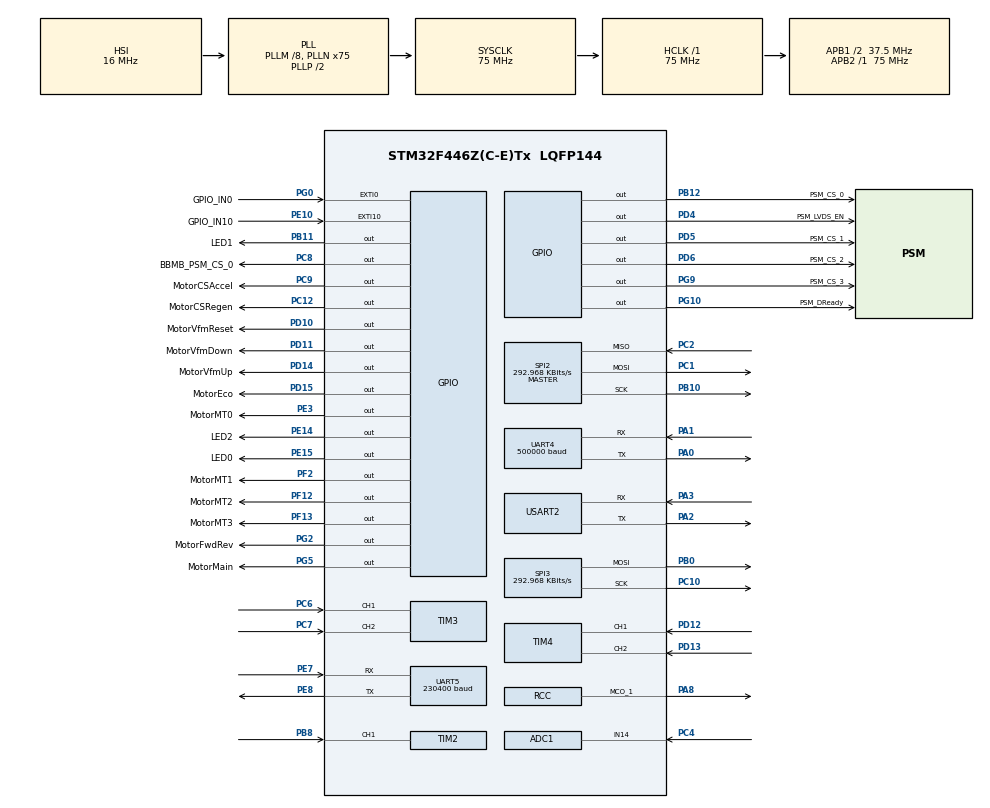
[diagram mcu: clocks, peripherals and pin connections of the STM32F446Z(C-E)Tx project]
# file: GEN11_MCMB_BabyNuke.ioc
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ADC1.Channel-7\#ChannelRegularConversion=ADC_CHANNEL_14
ADC1.NbrOfConversionFlag=1
ADC1.Rank-7\#ChannelRegularConversion=1
ADC1.SamplingTime-7\#ChannelRegularConversion=ADC_SAMPLETIME_3CYCLES
ADC1.master=1
Dma.Request0=UART4_TX
Dma.Request1=UART4_RX
Dma.Request2=USART2_RX
Dma.Request3=USART2_TX
Dma.Request4=UART5_RX
Dma.Request5=UART5_TX
Dma.UART4_RX.1.Direction=DMA_PERIPH_TO_MEMORY
Dma.UART4_RX.1.FIFOMode=DMA_FIFOMODE_DISABLE
Dma.UART4_RX.1.Instance=DMA1_Stream2
Dma.UART4_RX.1.MemDataAlignment=DMA_MDATAALIGN_BYTE
Dma.UART4_RX.1.MemInc=DMA_MINC_ENABLE
Dma.UART4_RX.1.Mode=DMA_CIRCULAR
Dma.UART4_RX.1.PeriphDataAlignment=DMA_PDATAALIGN_BYTE
Dma.UART4_RX.1.PeriphInc=DMA_PINC_DISABLE
Dma.UART4_RX.1.Priority=DMA_PRIORITY_HIGH
Dma.UART4_TX.0.Direction=DMA_MEMORY_TO_PERIPH
Dma.UART4_TX.0.FIFOMode=DMA_FIFOMODE_DISABLE
Dma.UART4_TX.0.Instance=DMA1_Stream4
Dma.UART4_TX.0.MemDataAlignment=DMA_MDATAALIGN_BYTE
Dma.UART4_TX.0.MemInc=DMA_MINC_ENABLE
Dma.UART4_TX.0.Mode=DMA_NORMAL
Dma.UART4_TX.0.PeriphDataAlignment=DMA_PDATAALIGN_BYTE
Dma.UART4_TX.0.PeriphInc=DMA_PINC_DISABLE
Dma.UART4_TX.0.Priority=DMA_PRIORITY_HIGH
Dma.UART5_RX.4.Direction=DMA_PERIPH_TO_MEMORY
Dma.UART5_RX.4.FIFOMode=DMA_FIFOMODE_DISABLE
Dma.UART5_RX.4.Instance=DMA1_Stream0
Dma.UART5_RX.4.MemDataAlignment=DMA_MDATAALIGN_BYTE
Dma.UART5_RX.4.MemInc=DMA_MINC_ENABLE
Dma.UART5_RX.4.Mode=DMA_NORMAL
Dma.UART5_RX.4.PeriphDataAlignment=DMA_PDATAALIGN_BYTE
Dma.UART5_RX.4.PeriphInc=DMA_PINC_DISABLE
Dma.UART5_RX.4.Priority=DMA_PRIORITY_MEDIUM
Dma.UART5_TX.5.Direction=DMA_MEMORY_TO_PERIPH
Dma.UART5_TX.5.FIFOMode=DMA_FIFOMODE_DISABLE
Dma.UART5_TX.5.Instance=DMA1_Stream7
Dma.UART5_TX.5.MemDataAlignment=DMA_MDATAALIGN_BYTE
Dma.UART5_TX.5.MemInc=DMA_MINC_ENABLE
Dma.UART5_TX.5.Mode=DMA_NORMAL
Dma.UART5_TX.5.PeriphDataAlignment=DMA_PDATAALIGN_BYTE
Dma.UART5_TX.5.PeriphInc=DMA_PINC_DISABLE
Dma.UART5_TX.5.Priority=DMA_PRIORITY_MEDIUM
Dma.USART2_RX.2.Direction=DMA_PERIPH_TO_MEMORY
Dma.USART2_RX.2.FIFOMode=DMA_FIFOMODE_DISABLE
Dma.USART2_RX.2.Instance=DMA1_Stream5
Dma.USART2_RX.2.MemDataAlignment=DMA_MDATAALIGN_BYTE
Dma.USART2_RX.2.MemInc=DMA_MINC_ENABLE
Dma.USART2_RX.2.Mode=DMA_CIRCULAR
Dma.USART2_RX.2.PeriphDataAlignment=DMA_PDATAALIGN_BYTE
Dma.USART2_RX.2.PeriphInc=DMA_PINC_DISABLE
Dma.USART2_RX.2.Priority=DMA_PRIORITY_HIGH
Dma.USART2_TX.3.Direction=DMA_MEMORY_TO_PERIPH
Dma.USART2_TX.3.FIFOMode=DMA_FIFOMODE_DISABLE
Dma.USART2_TX.3.Instance=DMA1_Stream6
Dma.USART2_TX.3.MemDataAlignment=DMA_MDATAALIGN_BYTE
Dma.USART2_TX.3.MemInc=DMA_MINC_ENABLE
Dma.USART2_TX.3.Mode=DMA_NORMAL
Dma.USART2_TX.3.PeriphDataAlignment=DMA_PDATAALIGN_BYTE
Dma.USART2_TX.3.PeriphInc=DMA_PINC_DISABLE
Dma.USART2_TX.3.Priority=DMA_PRIORITY_HIGH
FREERTOS.HEAP_NUMBER=4
FREERTOS.MEMORY_ALLOCATION=0
FREERTOS.Tasks01=defaultTask,0,256,StartDefaultTask,Default,NULL,Dynamic,NULL,NULL
FREERTOS.configENABLE_BACKWARD_COMPATIBILITY=0
FREERTOS.configMINIMAL_STACK_SIZE=256
FREERTOS.configTIMER_QUEUE_LENGTH=16
FREERTOS.configTIMER_TASK_PRIORITY=5
FREERTOS.configTOTAL_HEAP_SIZE=120000
FREERTOS.configUSE_NEWLIB_REENTRANT=1
FREERTOS.configUSE_TIMERS=1
Mcu.Family=STM32F4
Mcu.Name=STM32F446Z(C-E)Tx
Mcu.Package=LQFP144
NVIC.DMA1_Stream0_IRQn=true\:5\:0\:false\:false\:true\:true\:false\:true\:true
NVIC.DMA1_Stream2_IRQn=true\:5\:0\:false\:false\:true\:true\:false\:true\:true
NVIC.DMA1_Stream4_IRQn=true\:5\:0\:false\:false\:true\:true\:false\:true\:true
NVIC.DMA1_Stream5_IRQn=true\:5\:0\:false\:false\:true\:true\:false\:true\:true
NVIC.DMA1_Stream6_IRQn=true\:5\:0\:false\:false\:true\:true\:false\:true\:true
NVIC.DMA1_Stream7_IRQn=true\:5\:0\:false\:false\:true\:true\:false\:true\:true
NVIC.EXTI0_IRQn=true\:5\:0\:false\:false\:true\:true\:true\:true\:true
NVIC.EXTI15_10_IRQn=true\:5\:0\:false\:false\:true\:true\:true\:true\:true
NVIC.PriorityGroup=NVIC_PRIORITYGROUP_4
NVIC.SPI3_IRQn=true\:5\:0\:false\:false\:true\:true\:true\:true\:true
NVIC.TIM2_IRQn=true\:5\:0\:false\:false\:true\:true\:true\:true\:true
NVIC.TIM4_IRQn=true\:5\:0\:false\:false\:true\:true\:true\:true\:true
NVIC.TIM6_DAC_IRQn=true\:15\:0\:false\:false\:true\:false\:false\:true\:true
NVIC.TIM7_IRQn=true\:5\:0\:false\:false\:true\:true\:true\:true\:true
NVIC.TimeBase=TIM6_DAC_IRQn
NVIC.TimeBaseIP=TIM6
NVIC.UART4_IRQn=true\:5\:0\:false\:false\:true\:true\:true\:true\:true
NVIC.UART5_IRQn=true\:5\:0\:false\:false\:true\:true\:true\:true\:true
NVIC.USART2_IRQn=true\:5\:0\:false\:false\:true\:true\:true\:true\:true
PA0-WKUP.Mode=Asynchronous
PA0-WKUP.Signal=UART4_TX
PA1.Mode=Asynchronous
PA1.Signal=UART4_RX
PA2.Mode=Asynchronous
PA2.Signal=USART2_TX
PA3.Mode=Asynchronous
PA3.Signal=USART2_RX
PA8.Mode=Clock-out-1
PA8.Signal=RCC_MCO_1
PB0.Mode=TX_Only_Simplex_Unidirect_Master
PB0.Signal=SPI3_MOSI
PB10.Mode=Full_Duplex_Master
PB10.Signal=SPI2_SCK
PB11.GPIO_Label=LED1
PB11.Signal=GPIO_Output
PB12.GPIO_Label=PSM_CS_0
PB12.Signal=GPIO_Output
PB8.Signal=S_TIM2_CH1_ETR
PC1.Mode=Full_Duplex_Master
PC1.Signal=SPI2_MOSI
PC10.Mode=TX_Only_Simplex_Unidirect_Master
PC10.Signal=SPI3_SCK
PC12.GPIO_Label=MotorCSRegen
PC12.Signal=GPIO_Output
PC2.Mode=Full_Duplex_Master
PC2.Signal=SPI2_MISO
PC4.Signal=ADCx_IN14
PC6.Signal=S_TIM3_CH1
PC7.Signal=S_TIM3_CH2
PC8.GPIO_Label=BBMB_PSM_CS_0
PC8.Signal=GPIO_Output
PC9.GPIO_Label=MotorCSAccel
PC9.Signal=GPIO_Output
PD10.GPIO_Label=MotorVfmReset
PD10.Signal=GPIO_Output
PD11.GPIO_Label=MotorVfmDown
PD11.Signal=GPIO_Output
PD12.Signal=S_TIM4_CH1
PD13.Signal=S_TIM4_CH2
PD14.GPIO_Label=MotorVfmUp
PD14.Signal=GPIO_Output
PD15.GPIO_Label=MotorEco
PD15.Signal=GPIO_Output
PD4.GPIO_Label=PSM_LVDS_EN
PD4.Signal=GPIO_Output
PD5.GPIO_Label=PSM_CS_1
PD5.Signal=GPIO_Output
PD6.GPIO_Label=PSM_CS_2
PD6.Signal=GPIO_Output
PE10.GPIO_Label=GPIO_IN10
PE10.Signal=GPXTI10
PE14.GPIO_Label=LED2
PE14.Signal=GPIO_Output
PE15.GPIO_Label=LED0
PE15.Signal=GPIO_Output
PE3.GPIO_Label=MotorMT0
PE3.Signal=GPIO_Output
PE7.Mode=Asynchronous
PE7.Signal=UART5_RX
PE8.Mode=Asynchronous
PE8.Signal=UART5_TX
PF12.GPIO_Label=MotorMT2
PF12.Signal=GPIO_Output
PF13.GPIO_Label=MotorMT3
PF13.Signal=GPIO_Output
PF2.GPIO_Label=MotorMT1
PF2.Signal=GPIO_Output
PG0.GPIO_Label=GPIO_IN0
PG0.Signal=GPXTI0
PG10.GPIO_Label=PSM_DReady
PG10.Signal=GPIO_Output
PG2.GPIO_Label=MotorFwdRev
PG2.Signal=GPIO_Output
PG5.GPIO_Label=MotorMain
PG5.Signal=GPIO_Output
PG9.GPIO_Label=PSM_CS_3
PG9.Signal=GPIO_Output
ProjectManager.HeapSize=0x200
ProjectManager.StackSize=0x400
ProjectManager.TargetToolchain=STM32CubeIDE
RCC.AHBFreq_Value=75000000
RCC.APB1CLKDivider=RCC_HCLK_DIV2
RCC.APB1Freq_Value=37500000
RCC.APB1TimFreq_Value=75000000
RCC.APB2Freq_Value=75000000
RCC.APB2TimFreq_Value=75000000
RCC.CortexFreq_Value=75000000
RCC.HCLKFreq_Value=75000000
RCC.PLLM=8
RCC.PLLN=75
RCC.PLLSourceVirtual=RCC_PLLSOURCE_HSI
RCC.SYSCLKFreq_VALUE=75000000
RCC.SYSCLKSource=RCC_SYSCLKSOURCE_PLLCLK
RCC.USBFreq_Value=75000000
RCC.VCOOutputFreq_Value=150000000
SH.ADCx_IN14.0=ADC1_IN14,IN14
SH.S_TIM2_CH1_ETR.0=TIM2_CH1,Input_Capture1_from_TI1
SH.S_TIM3_CH1.0=TIM3_CH1,Encoder_Interface
SH.S_TIM3_CH2.0=TIM3_CH2,Encoder_Interface
SH.S_TIM4_CH1.0=TIM4_CH1,Encoder_Interface
SH.S_TIM4_CH2.0=TIM4_CH2,Encoder_Interface
SPI2.BaudRatePrescaler=SPI_BAUDRATEPRESCALER_128
SPI2.CLKPhase=SPI_PHASE_2EDGE
SPI2.CalculateBaudRate=292.968 KBits/s
SPI2.Direction=SPI_DIRECTION_2LINES
SPI2.Mode=SPI_MODE_MASTER
SPI2.VirtualType=VM_MASTER
SPI3.BaudRatePrescaler=SPI_BAUDRATEPRESCALER_128
SPI3.CalculateBaudRate=292.968 KBits/s
SPI3.Direction=SPI_DIRECTION_2LINES
SPI3.Mode=SPI_MODE_MASTER
SPI3.VirtualType=VM_MASTER
TIM2.AutoReloadPreload=TIM_AUTORELOAD_PRELOAD_ENABLE
TIM2.Channel-Input_Capture1_from_TI1=TIM_CHANNEL_1
TIM2.Period=0xffffffff
TIM2.Prescaler=75-1
TIM7.AutoReloadPreload=TIM_AUTORELOAD_PRELOAD_ENABLE
TIM7.Period=2000
TIM7.Prescaler=32499
UART4.BaudRate=500000
UART4.VirtualMode=Asynchronous
UART5.BaudRate=230400
UART5.VirtualMode=Asynchronous
USART2.VirtualMode=VM_ASYNC
VP_CRC_VS_CRC.Mode=CRC_Activate
VP_FREERTOS_VS_CMSIS_V1.Mode=CMSIS_V1
VP_SYS_VS_tim6.Mode=TIM6
VP_TIM12_VS_ClockSourceINT.Mode=Internal
VP_TIM1_VS_ClockSourceINT.Mode=Internal
VP_TIM2_VS_ClockSourceINT.Mode=Internal
VP_TIM7_VS_ClockSourceINT.Mode=Enable_Timer
board=custom

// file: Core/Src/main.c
/* USER CODE BEGIN Header */
/**
  ******************************************************************************
  * @file           : main.c
  * @brief          : Main program body
  ******************************************************************************
  * @attention
  *
  * Copyright (c) 2023 STMicroelectronics.
  * All rights reserved.
  *
  * This software is licensed under terms that can be found in the LICENSE file
  * in the root directory of this software component.
  * If no LICENSE file comes with this software, it is provided AS-IS.
  *
  ******************************************************************************
  */
/* USER CODE END Header */
#include "main.h"
#include "cmsis_os.h"

/* USER CODE BEGIN Includes */
#include "stdio.h"
#include "h7Boot.h"
#include "buart.h"
#include "btcp.h"
#include "newpsm.h"
#include "protocol_ids.h"
#include "math.h"
#include "mitsuba_motor.h"
#include "cQueue.h"
/* USER CODE END Includes */

/* USER CODE BEGIN PD */

#define MOTOR 16
#define FWD_REV 8
#define ECO_PWR 1
#define VFM_UP 4
#define VFM_DOWN 2

#define WHEEL_DIA 0.555625 //In meters

#define HEARTBEAT_INTERVAL 1000 //Period between heartbeats

#define MOTOR_STATE_TMR_PERIOD_MS 20 //Interval (in ms) at which the motor state timer runs (also determines the cruise control PI controller timestep)

#define CRUISE_PI_CHASE_CMD_PASSWORD 123 //16-bit unsigned

//--- MOTOR ---//
enum CRUISE_MODE {
	CONSTANT_POWER,
	CONSTANT_SPEED
};

#define CRUISE_CONTROL_SPEED_AVERAGING_COUNT 20

#define CRUISE_MODE CONSTANT_SPEED //Specifies how how cruise control should work (maintains constant motorTargetPower or maintains motorTargetSpeed)
/* ^ Need to update in MCMB as well ^ */

//--- TEMPERATURE SENSOR ---//

#define TEMP_AVG_SIZE 				10

// Parameters for Platinum 3850 ppm/K
#define RESISTANCE_ZERO_DEG			100
#define COEF_A 						(3.9083 * 0.001)
#define COEF_B						(-5.775 * 0.0000001)
#define COEF_C						(-4.183 * 0.000000000001)
#define PULL_DOWN_RESISTANCE		200

/* USER CODE END PD */

ADC_HandleTypeDef hadc1;

CRC_HandleTypeDef hcrc;

SPI_HandleTypeDef hspi2;
SPI_HandleTypeDef hspi3;

TIM_HandleTypeDef htim1;
TIM_HandleTypeDef htim2;
TIM_HandleTypeDef htim3;
TIM_HandleTypeDef htim4;
TIM_HandleTypeDef htim7;
TIM_HandleTypeDef htim12;

UART_HandleTypeDef huart4;
UART_HandleTypeDef huart5;
UART_HandleTypeDef huart2;
DMA_HandleTypeDef hdma_uart4_tx;
DMA_HandleTypeDef hdma_uart4_rx;
DMA_HandleTypeDef hdma_uart5_rx;
DMA_HandleTypeDef hdma_uart5_tx;
DMA_HandleTypeDef hdma_usart2_rx;
DMA_HandleTypeDef hdma_usart2_tx;

osThreadId defaultTaskHandle;
/* USER CODE BEGIN PV */

//--- PSM ---//
struct PSM_P psmPeriph;
//double voltageCurrent_Motor[2] = {0, 0};
//double voltageCurrent_Supp[2] = {0, 0};

struct PSM_FIR_Filter psmFilter;
float PSM_FIR_HV_Voltage[PSM_FIR_FILTER_SAMPLING_FREQ_MCMB] = {0};
float PSM_FIR_HV_Current[PSM_FIR_FILTER_SAMPLING_FREQ_MCMB_CURRENT] = {0};

//--- COMMS ---//
B_uartHandle_t *buart;
B_uartHandle_t *radioBuart;
B_tcpHandle_t *btcp;
B_tcpHandle_t *radioBtcp;

uint8_t heartbeat[2] = {MCMB_HEARTBEAT_ID, 0};

typedef enum {
	OFF,
	PEDAL,
	CRUISE,
	REGEN,
	STANDBY
} MOTORSTATE;

enum motorPowerState {
	ECO,
	POWER_STATE
};

MOTORSTATE motorState; //see below for description
//	[0] OFF (not reacting to any input)
//	[1] PEDAL (motor power controlled by accelerator pedal)
//	[2] CRUISE (DCMB sends target speed to MCMB, which runs a control loop to maintain target speed). Note: It is also possible to set it to maintain constant power
//	[3] REGEN (When regen pedal is pressed; has priority over others). DCMB controls motor state
uint16_t targetPower = 0; // Note: this is not in watts, it is from 0 - 256, for POT
uint8_t targetSpeed = 0;
float batteryVoltage = 0;

// These are values from 5 digital buttons
//uint8_t motorOnOff = 0; // 1 means motor is on, 0 means off (deprecated)
uint8_t ecoPwrState = 0; //0 is ECO, 1 is POWER (default to ECO)
uint8_t gearUp = 0;
uint8_t fwdRevState = 0;
uint8_t gearDown = 0;
uint8_t vfm_pos = 0; // default to zero
uint8_t past_vfm_pos = 0;

long lastDcmbPacket = 0;
float temperature = 0;
uint8_t speedTarget;
float prevKmPerHour = 0;
float kmPerHour = 0;

MotorInterface* motor;
MitsubaMotor mitsuba;

// Struct for reading PWM input (in this case: speed pulse from motor)
typedef struct {
	uint32_t icValue1;
	uint32_t icValue2;
	uint32_t diffCapture;
	uint16_t captureIndex;
	float frequency;
	uint32_t lastInterrupt;
} PWM_INPUT_CAPTURE;
PWM_INPUT_CAPTURE pwm_in = {0, 0, 1, 0, 0.0, 0};
// diffCapture must not be set to zero as it needs to be used as division and dividing by zero causes undefined behaviour

// Struct for cruise control variables -> PI controller
typedef struct{
  // Controller Gains
	float k_p;
	float k_i;
  float k_d;

	// Controller inputs
	float integrator;
	float prevError;
	float prevMeasurement;

	// Controller output
	float output;

	// To set limits
	float outMin;
	float outMax;
	float integralMin;
	float integralMax;
	float derivativeMin;
	float derivativeMax;

	float timeStep_ms; // Sample time

} PIDController;

PIDController cruise_control_pi = {
  //Determined with basic model (PI_cruise_control_simulation.py) followed by empirical testing
  .k_p = 250.0,
  .k_i = 0.015,
  .k_d = 0.0, //Set to 0.0 to effectively change PID to PI (more stable but slower)

  .integralMin = -200.0,
  .integralMax = 200.0,
  .integrator = 0.0,

  .derivativeMin = -100.0,
  .derivativeMax = 100.0,

  .outMin = -255.0,
  .outMax = 255.0,
  .output = 0.0,

  .timeStep_ms = MOTOR_STATE_TMR_PERIOD_MS,
  .prevMeasurement = 0.0,
  .prevError = 0.0,
};

/* USER CODE END PV */

void SystemClock_Config(void);
static void MX_GPIO_Init(void);
static void MX_DMA_Init(void);
static void MX_UART4_Init(void);
static void MX_USART2_UART_Init(void);
static void MX_ADC1_Init(void);
static void MX_SPI2_Init(void);
static void MX_SPI3_Init(void);
static void MX_CRC_Init(void);
static void MX_TIM1_Init(void);
static void MX_TIM2_Init(void);
static void MX_TIM7_Init(void);
static void MX_TIM12_Init(void);
static void MX_UART5_Init(void);
static void MX_TIM3_Init(void);
static void MX_TIM4_Init(void);
void StartDefaultTask(void const * argument);

/* USER CODE BEGIN PFP */
/* =================== Software Timers ========================*/
static void motorTmr(TimerHandle_t xTimer);
static void spdTmr(TimerHandle_t xTimer);
void HeartbeatHandler(TimerHandle_t xTimer);
/* ============================================================*/

//Tasks for temperature reading and PSM and heartbeat
void tempSenseTaskHandler(void* parameters);
void PSMTaskHandler(void* parameters);
void measurementSender(TimerHandle_t xTimer);

// function which writes to the MCP4146 potentiometer on the MC^2
void MCP4161_Pot_Write(uint16_t wiperValue, GPIO_TypeDef *CSPort, uint16_t CSPin, SPI_HandleTypeDef *hspiPtr);

// Reads ADC by Polling. Note: the polling occurs in a separate thread to prevent blocking CPU.
uint16_t ADC_poll_read(ADC_HandleTypeDef *hadcPtr);

/*========== Helper functions for ADC and temperature reading ========== */
float ADCMapToVolt(float ADCValue);
float convertToTemp(float Vadc);
float getTemperature(ADC_HandleTypeDef *hadcPtr);
/*================================================================*/

/*========== Helper functions for Cruise Control Implementation ========== */
float PIDControllerUpdate(float setpoint, float measured);

// Special filtering
typedef struct StaticFloatQueue {
	float vals[PSM_FIR_FILTER_SAMPLING_FREQ_MCMB_CURRENT];
	Queue_t q;
}StaticFloatQueue;

static void sfq_init(StaticFloatQueue* this)
{
	q_init_static(
			&this->q,
			sizeof(float),
			PSM_FIR_FILTER_SAMPLING_FREQ_MCMB_CURRENT,
			FIFO,
			true, // Overwrite old values (so we only need to call push() and no need to pop())
			this->vals,
			sizeof(this->vals)
		);
}
StaticFloatQueue current_queue;

static bool sfq_push(StaticFloatQueue* this, float val)
{
	return q_push(&this->q, &val);
}

static bool sfq_peek_idx(StaticFloatQueue* this, float* ret_val, int idx)
{
	return q_peekIdx(&this->q, ret_val, idx);
}

static float sfq_get_avg(StaticFloatQueue* this)
{
	float total_past_vals = 0;
	int num_past_vals = 0;
	for (int idx = 0; idx < PSM_FIR_FILTER_SAMPLING_FREQ_MCMB_CURRENT; idx++){
		float past_val;
		if (sfq_peek_idx(this, &past_val, idx)) { // evaluates to true if val is available
			num_past_vals++;
			total_past_vals += past_val;
		}
	}
	return total_past_vals / (float)num_past_vals;
}
/* USER CODE END PFP */

int main(void)
{

  /* MCU Configuration--------------------------------------------------------*/

  /* Reset of all peripherals, Initializes the Flash interface and the Systick. */
  HAL_Init();

  /* Configure the system clock */
  SystemClock_Config();

  /* Initialize all configured peripherals */
  MX_GPIO_Init();
  MX_DMA_Init();
  MX_UART4_Init();
  MX_USART2_UART_Init();
  MX_ADC1_Init();
  MX_SPI2_Init();
  MX_SPI3_Init();
  MX_CRC_Init();
  MX_TIM1_Init();
  MX_TIM2_Init();
  MX_TIM7_Init();
  MX_TIM12_Init();
  MX_UART5_Init();
  MX_TIM3_Init();
  MX_TIM4_Init();
  /* USER CODE BEGIN 2 */
	//--- NUKE LED ---//
	HAL_TIM_Base_Start_IT(&htim7);

	//uint8_t SPI_START_VAL = 0b00010001;

    //---- COMMS ---//
    buart = B_uartStart(&huart4); //Use huart2 for uart test. Use huart4 for RS485
    btcp = B_tcpStart(MCMB_ID, &buart, buart, 1, &hcrc);

    //--- MOTOR ---//
    mitsuba.mainPort = MotorMain_GPIO_Port;
    mitsuba.mainPin = MotorMain_Pin;

    mitsuba.fwdRevPort = MotorFwdRev_GPIO_Port;
    mitsuba.fwdRevPin = MotorFwdRev_Pin;

    mitsuba.vfmUpPort = MotorVfmUp_GPIO_Port;
    mitsuba.vfmUpPin = MotorVfmUp_Pin;

    mitsuba.vfmDownPort = MotorVfmDown_GPIO_Port;
    mitsuba.vfmDownPin = MotorVfmDown_Pin;

    mitsuba.ecoPort = MotorEco_GPIO_Port;
    mitsuba.ecoPin = MotorEco_Pin;

    mitsuba.vfmResetPort = MotorVfmReset_GPIO_Port;
    mitsuba.vfmResetPin = MotorVfmReset_Pin;

    mitsuba.MT3Port = MotorMT3_GPIO_Port;
    mitsuba.MT3Pin = MotorMT3_Pin;

    mitsuba.MT2Port = MotorMT2_GPIO_Port;
    mitsuba.MT2Pin = MotorMT2_Pin;

    mitsuba.MT1Port = MotorMT1_GPIO_Port;
    mitsuba.MT1Pin = MotorMT1_Pin;

    mitsuba.MT0Port = MotorMT0_GPIO_Port;
    mitsuba.MT0Pin = MotorMT0_Pin;

    mitsuba.cs0AccelPort = MotorCSAccel_GPIO_Port;
    mitsuba.cs0AccelPin = MotorCSAccel_Pin;
    mitsuba.cs1RegenPort = MotorCSRegen_GPIO_Port;
    mitsuba.cs1RegenPin = MotorCSRegen_Pin;
    mitsuba.potSpiPtr = &hspi3;

    motor = mitsubaMotor_init(&mitsuba);

  //  //Gen11 regen write below:
  //  MCP4161_Pot_Write(0, MotorCSRegen_GPIO_Port, MotorCSRegen_Pin, &hspi3);
  //  MCP4161_Pot_Write(255, MotorCSRegen_GPIO_Port, MotorCSRegen_Pin, &hspi3);
  //  MCP4161_Pot_Write(0, MotorCSRegen_GPIO_Port, MotorCSRegen_Pin, &hspi3);
  //
  //  //Gen11 accel write below:
  //  MCP4161_Pot_Write(0, MotorCSAccel_GPIO_Port, MotorCSAccel_Pin, &hspi3);
  //  MCP4161_Pot_Write(255, MotorCSAccel_GPIO_Port, MotorCSAccel_Pin, &hspi3);
  //  MCP4161_Pot_Write(0, MotorCSAccel_GPIO_Port, MotorCSAccel_Pin, &hspi3);

    //--- PSM ---//
    psmPeriph.CSPin = PSM_CS_0_Pin;
    psmPeriph.CSPort = PSM_CS_0_GPIO_Port;
    psmPeriph.LVDSPort = PSM_LVDS_EN_GPIO_Port;
    psmPeriph.LVDSPin = PSM_LVDS_EN_Pin;

    PSM_init(&psmPeriph, &hspi2, &huart2);
    PSM_FIR_Init(&psmFilter);

    //test_config(&psmPeriph, &hspi2, &huart2);

    psmFilter.buf_voltage = PSM_FIR_HV_Voltage;
    //psmFilter.buf_current = PSM_FIR_HV_Current; // discarded to use a different filter
    sfq_init(&current_queue);
    psmFilter.buf_size = PSM_FIR_FILTER_SAMPLING_FREQ_MCMB;

//    if (configPSM(&psmPeriph, &hspi2, &huart2, "12", 2000) == -1){ //2000ms timeout
//  	  HAL_GPIO_WritePin(LED0_GPIO_Port, LED0_Pin, GPIO_PIN_SET); //Turn on red LED as a warning
//    }

    //--- FREERTOS ---//
    xTimerStart(xTimerCreate("motorStateTimer", MOTOR_STATE_TMR_PERIOD_MS, pdTRUE, NULL, motorTmr), 0);
    xTimerStart(xTimerCreate("spdTimer", 100, pdTRUE, NULL, spdTmr), 0);
    xTimerStart(xTimerCreate("HeartbeatHandler",  pdMS_TO_TICKS(HEARTBEAT_INTERVAL / 2), pdTRUE, (void *)0, HeartbeatHandler), 0); //Heartbeat handler
    configASSERT(xTimerStart(xTimerCreate("measurementSender",  pdMS_TO_TICKS(PSM_SEND_INTERVAL), pdTRUE, (void *)0, measurementSender), 0)); //Periodically send data on UART bus

    //HAL_TIM_Base_Start(&htim2); //not sure what this is for
//    MX_TIM4_Init(); //CubeMX fails to generate this line, thus call manually
    HAL_TIM_IC_Start_IT(&htim4, TIM_CHANNEL_3);
    HAL_TIM_IC_Start_IT(&htim2, TIM_CHANNEL_1);

    //HAL_GPIO_WritePin(GPIOH, GPIO_PIN_12, GPIO_PIN_SET);

  /* USER CODE END 2 */

  /* USER CODE BEGIN RTOS_QUEUES */
  /* add queues, ... */
#ifdef DEFAULT_TASK
  /* USER CODE END RTOS_QUEUES */

  /* Create the thread(s) */
  /* definition and creation of defaultTask */
  osThreadDef(defaultTask, StartDefaultTask, osPriorityNormal, 0, 256);
  defaultTaskHandle = osThreadCreate(osThread(defaultTask), NULL);

  /* USER CODE BEGIN RTOS_THREADS */
#endif
  /* add threads, ... */
  BaseType_t status;
  TaskHandle_t tempSense_handle;

	status = xTaskCreate(tempSenseTaskHandler,  /* Function that implements the task. */
				"tempSenseTask", /* Text name for the task. */
				200, 		/* 200 words *4(bytes/word) = 800 bytes allocated for task's stack*/
				"none", /* Parameter passed into the task. */
				4, /* Priority at which the task is created. */
				&tempSense_handle /* Used to pass out the created task's handle. */
							  );
	configASSERT(status == pdPASS); // Error checking

	TaskHandle_t PSM_handle;

	status = xTaskCreate(PSMTaskHandler,  //Function that implements the task.
				"PSMTask",  //Text name for the task.
				200, 		 //200 words *4(bytes/word) = 800 bytes allocated for task's stack
				"none",  //Parameter passed into the task.
				4,  //Priority at which the task is created.
				&PSM_handle  //Used to pass out the created task's handle.
							);
	configASSERT(status == pdPASS);// Error checking

  /* USER CODE END RTOS_THREADS */

  /* Start scheduler */
  osKernelStart();

  /* We should never get here as control is now taken by the scheduler */
  /* Infinite loop */
  while (1)
  {

  }
}

void SystemClock_Config(void)
{
  RCC_OscInitTypeDef RCC_OscInitStruct = {0};
  RCC_ClkInitTypeDef RCC_ClkInitStruct = {0};

  /** Configure the main internal regulator output voltage
  */
  __HAL_RCC_PWR_CLK_ENABLE();
  __HAL_PWR_VOLTAGESCALING_CONFIG(PWR_REGULATOR_VOLTAGE_SCALE3);

  /** Initializes the RCC Oscillators according to the specified parameters
  * in the RCC_OscInitTypeDef structure.
  */
  RCC_OscInitStruct.OscillatorType = RCC_OSCILLATORTYPE_HSI;
  RCC_OscInitStruct.HSIState = RCC_HSI_ON;
  RCC_OscInitStruct.HSICalibrationValue = RCC_HSICALIBRATION_DEFAULT;
  RCC_OscInitStruct.PLL.PLLState = RCC_PLL_ON;
  RCC_OscInitStruct.PLL.PLLSource = RCC_PLLSOURCE_HSI;
  RCC_OscInitStruct.PLL.PLLM = 8;
  RCC_OscInitStruct.PLL.PLLN = 75;
  RCC_OscInitStruct.PLL.PLLP = RCC_PLLP_DIV2;
  RCC_OscInitStruct.PLL.PLLQ = 2;
  RCC_OscInitStruct.PLL.PLLR = 2;
  if (HAL_RCC_OscConfig(&RCC_OscInitStruct) != HAL_OK)
  {
    Error_Handler();
  }

  /** Initializes the CPU, AHB and APB buses clocks
  */
  RCC_ClkInitStruct.ClockType = RCC_CLOCKTYPE_HCLK|RCC_CLOCKTYPE_SYSCLK
                              |RCC_CLOCKTYPE_PCLK1|RCC_CLOCKTYPE_PCLK2;
  RCC_ClkInitStruct.SYSCLKSource = RCC_SYSCLKSOURCE_PLLCLK;
  RCC_ClkInitStruct.AHBCLKDivider = RCC_SYSCLK_DIV1;
  RCC_ClkInitStruct.APB1CLKDivider = RCC_HCLK_DIV2;
  RCC_ClkInitStruct.APB2CLKDivider = RCC_HCLK_DIV1;

  if (HAL_RCC_ClockConfig(&RCC_ClkInitStruct, FLASH_LATENCY_2) != HAL_OK)
  {
    Error_Handler();
  }
  HAL_RCC_MCOConfig(RCC_MCO1, RCC_MCO1SOURCE_HSI, RCC_MCODIV_1);
}

static void MX_ADC1_Init(void)
{

  ADC_ChannelConfTypeDef sConfig = {0};

  /** Configure the global features of the ADC (Clock, Resolution, Data Alignment and number of conversion)
  */
  hadc1.Instance = ADC1;
  hadc1.Init.ClockPrescaler = ADC_CLOCK_SYNC_PCLK_DIV4;
  hadc1.Init.Resolution = ADC_RESOLUTION_12B;
  hadc1.Init.ScanConvMode = DISABLE;
  hadc1.Init.ContinuousConvMode = DISABLE;
  hadc1.Init.DiscontinuousConvMode = DISABLE;
  hadc1.Init.ExternalTrigConvEdge = ADC_EXTERNALTRIGCONVEDGE_NONE;
  hadc1.Init.ExternalTrigConv = ADC_SOFTWARE_START;
  hadc1.Init.DataAlign = ADC_DATAALIGN_RIGHT;
  hadc1.Init.NbrOfConversion = 1;
  hadc1.Init.DMAContinuousRequests = DISABLE;
  hadc1.Init.EOCSelection = ADC_EOC_SINGLE_CONV;
  if (HAL_ADC_Init(&hadc1) != HAL_OK)
  {
    Error_Handler();
  }

  /** Configure for the selected ADC regular channel its corresponding rank in the sequencer and its sample time.
  */
  sConfig.Channel = ADC_CHANNEL_14;
  sConfig.Rank = 1;
  sConfig.SamplingTime = ADC_SAMPLETIME_3CYCLES;
  if (HAL_ADC_ConfigChannel(&hadc1, &sConfig) != HAL_OK)
  {
    Error_Handler();
  }

}

static void MX_CRC_Init(void)
{

  hcrc.Instance = CRC;
  if (HAL_CRC_Init(&hcrc) != HAL_OK)
  {
    Error_Handler();
  }

}

static void MX_SPI2_Init(void)
{

  /* SPI2 parameter configuration*/
  hspi2.Instance = SPI2;
  hspi2.Init.Mode = SPI_MODE_MASTER;
  hspi2.Init.Direction = SPI_DIRECTION_2LINES;
  hspi2.Init.DataSize = SPI_DATASIZE_8BIT;
  hspi2.Init.CLKPolarity = SPI_POLARITY_LOW;
  hspi2.Init.CLKPhase = SPI_PHASE_2EDGE;
  hspi2.Init.NSS = SPI_NSS_SOFT;
  hspi2.Init.BaudRatePrescaler = SPI_BAUDRATEPRESCALER_128;
  hspi2.Init.FirstBit = SPI_FIRSTBIT_MSB;
  hspi2.Init.TIMode = SPI_TIMODE_DISABLE;
  hspi2.Init.CRCCalculation = SPI_CRCCALCULATION_DISABLE;
  hspi2.Init.CRCPolynomial = 10;
  if (HAL_SPI_Init(&hspi2) != HAL_OK)
  {
    Error_Handler();
  }

}

static void MX_SPI3_Init(void)
{

  /* SPI3 parameter configuration*/
  hspi3.Instance = SPI3;
  hspi3.Init.Mode = SPI_MODE_MASTER;
  hspi3.Init.Direction = SPI_DIRECTION_2LINES;
  hspi3.Init.DataSize = SPI_DATASIZE_8BIT;
  hspi3.Init.CLKPolarity = SPI_POLARITY_LOW;
  hspi3.Init.CLKPhase = SPI_PHASE_1EDGE;
  hspi3.Init.NSS = SPI_NSS_SOFT;
  hspi3.Init.BaudRatePrescaler = SPI_BAUDRATEPRESCALER_128;
  hspi3.Init.FirstBit = SPI_FIRSTBIT_MSB;
  hspi3.Init.TIMode = SPI_TIMODE_DISABLE;
  hspi3.Init.CRCCalculation = SPI_CRCCALCULATION_DISABLE;
  hspi3.Init.CRCPolynomial = 10;
  if (HAL_SPI_Init(&hspi3) != HAL_OK)
  {
    Error_Handler();
  }

}

static void MX_TIM1_Init(void)
{

  TIM_ClockConfigTypeDef sClockSourceConfig = {0};
  TIM_MasterConfigTypeDef sMasterConfig = {0};

  htim1.Instance = TIM1;
  htim1.Init.Prescaler = 0;
  htim1.Init.CounterMode = TIM_COUNTERMODE_UP;
  htim1.Init.Period = 65535;
  htim1.Init.ClockDivision = TIM_CLOCKDIVISION_DIV1;
  htim1.Init.RepetitionCounter = 0;
  htim1.Init.AutoReloadPreload = TIM_AUTORELOAD_PRELOAD_DISABLE;
  if (HAL_TIM_Base_Init(&htim1) != HAL_OK)
  {
    Error_Handler();
  }
  sClockSourceConfig.ClockSource = TIM_CLOCKSOURCE_INTERNAL;
  if (HAL_TIM_ConfigClockSource(&htim1, &sClockSourceConfig) != HAL_OK)
  {
    Error_Handler();
  }
  sMasterConfig.MasterOutputTrigger = TIM_TRGO_RESET;
  sMasterConfig.MasterSlaveMode = TIM_MASTERSLAVEMODE_DISABLE;
  if (HAL_TIMEx_MasterConfigSynchronization(&htim1, &sMasterConfig) != HAL_OK)
  {
    Error_Handler();
  }

}

static void MX_TIM2_Init(void)
{

  TIM_ClockConfigTypeDef sClockSourceConfig = {0};
  TIM_MasterConfigTypeDef sMasterConfig = {0};
  TIM_IC_InitTypeDef sConfigIC = {0};

  htim2.Instance = TIM2;
  htim2.Init.Prescaler = 75-1;
  htim2.Init.CounterMode = TIM_COUNTERMODE_UP;
  htim2.Init.Period = 0xffffffff;
  htim2.Init.ClockDivision = TIM_CLOCKDIVISION_DIV1;
  htim2.Init.AutoReloadPreload = TIM_AUTORELOAD_PRELOAD_ENABLE;
  if (HAL_TIM_Base_Init(&htim2) != HAL_OK)
  {
    Error_Handler();
  }
  sClockSourceConfig.ClockSource = TIM_CLOCKSOURCE_INTERNAL;
  if (HAL_TIM_ConfigClockSource(&htim2, &sClockSourceConfig) != HAL_OK)
  {
    Error_Handler();
  }
  if (HAL_TIM_IC_Init(&htim2) != HAL_OK)
  {
    Error_Handler();
  }
  sMasterConfig.MasterOutputTrigger = TIM_TRGO_RESET;
  sMasterConfig.MasterSlaveMode = TIM_MASTERSLAVEMODE_DISABLE;
  if (HAL_TIMEx_MasterConfigSynchronization(&htim2, &sMasterConfig) != HAL_OK)
  {
    Error_Handler();
  }
  sConfigIC.ICPolarity = TIM_INPUTCHANNELPOLARITY_RISING;
  sConfigIC.ICSelection = TIM_ICSELECTION_DIRECTTI;
  sConfigIC.ICPrescaler = TIM_ICPSC_DIV1;
  sConfigIC.ICFilter = 0;
  if (HAL_TIM_IC_ConfigChannel(&htim2, &sConfigIC, TIM_CHANNEL_1) != HAL_OK)
  {
    Error_Handler();
  }

}

static void MX_TIM3_Init(void)
{

  TIM_Encoder_InitTypeDef sConfig = {0};
  TIM_MasterConfigTypeDef sMasterConfig = {0};

  htim3.Instance = TIM3;
  htim3.Init.Prescaler = 0;
  htim3.Init.CounterMode = TIM_COUNTERMODE_UP;
  htim3.Init.Period = 65535;
  htim3.Init.ClockDivision = TIM_CLOCKDIVISION_DIV1;
  htim3.Init.AutoReloadPreload = TIM_AUTORELOAD_PRELOAD_DISABLE;
  sConfig.EncoderMode = TIM_ENCODERMODE_TI1;
  sConfig.IC1Polarity = TIM_ICPOLARITY_RISING;
  sConfig.IC1Selection = TIM_ICSELECTION_DIRECTTI;
  sConfig.IC1Prescaler = TIM_ICPSC_DIV1;
  sConfig.IC1Filter = 0;
  sConfig.IC2Polarity = TIM_ICPOLARITY_RISING;
  sConfig.IC2Selection = TIM_ICSELECTION_DIRECTTI;
  sConfig.IC2Prescaler = TIM_ICPSC_DIV1;
  sConfig.IC2Filter = 0;
  if (HAL_TIM_Encoder_Init(&htim3, &sConfig) != HAL_OK)
  {
    Error_Handler();
  }
  sMasterConfig.MasterOutputTrigger = TIM_TRGO_RESET;
  sMasterConfig.MasterSlaveMode = TIM_MASTERSLAVEMODE_DISABLE;
  if (HAL_TIMEx_MasterConfigSynchronization(&htim3, &sMasterConfig) != HAL_OK)
  {
    Error_Handler();
  }

}

static void MX_TIM4_Init(void)
{

  TIM_Encoder_InitTypeDef sConfig = {0};
  TIM_MasterConfigTypeDef sMasterConfig = {0};

  htim4.Instance = TIM4;
  htim4.Init.Prescaler = 0;
  htim4.Init.CounterMode = TIM_COUNTERMODE_UP;
  htim4.Init.Period = 65535;
  htim4.Init.ClockDivision = TIM_CLOCKDIVISION_DIV1;
  htim4.Init.AutoReloadPreload = TIM_AUTORELOAD_PRELOAD_DISABLE;
  sConfig.EncoderMode = TIM_ENCODERMODE_TI1;
  sConfig.IC1Polarity = TIM_ICPOLARITY_RISING;
  sConfig.IC1Selection = TIM_ICSELECTION_DIRECTTI;
  sConfig.IC1Prescaler = TIM_ICPSC_DIV1;
  sConfig.IC1Filter = 0;
  sConfig.IC2Polarity = TIM_ICPOLARITY_RISING;
  sConfig.IC2Selection = TIM_ICSELECTION_DIRECTTI;
  sConfig.IC2Prescaler = TIM_ICPSC_DIV1;
  sConfig.IC2Filter = 0;
  if (HAL_TIM_Encoder_Init(&htim4, &sConfig) != HAL_OK)
  {
    Error_Handler();
  }
  sMasterConfig.MasterOutputTrigger = TIM_TRGO_RESET;
  sMasterConfig.MasterSlaveMode = TIM_MASTERSLAVEMODE_DISABLE;
  if (HAL_TIMEx_MasterConfigSynchronization(&htim4, &sMasterConfig) != HAL_OK)
  {
    Error_Handler();
  }

}

static void MX_TIM7_Init(void)
{

  TIM_MasterConfigTypeDef sMasterConfig = {0};

  htim7.Instance = TIM7;
  htim7.Init.Prescaler = 32499;
  htim7.Init.CounterMode = TIM_COUNTERMODE_UP;
  htim7.Init.Period = 2000;
  htim7.Init.AutoReloadPreload = TIM_AUTORELOAD_PRELOAD_ENABLE;
  if (HAL_TIM_Base_Init(&htim7) != HAL_OK)
  {
    Error_Handler();
  }
  sMasterConfig.MasterOutputTrigger = TIM_TRGO_RESET;
  sMasterConfig.MasterSlaveMode = TIM_MASTERSLAVEMODE_DISABLE;
  if (HAL_TIMEx_MasterConfigSynchronization(&htim7, &sMasterConfig) != HAL_OK)
  {
    Error_Handler();
  }

}

static void MX_TIM12_Init(void)
{

  TIM_ClockConfigTypeDef sClockSourceConfig = {0};

  htim12.Instance = TIM12;
  htim12.Init.Prescaler = 0;
  htim12.Init.CounterMode = TIM_COUNTERMODE_UP;
  htim12.Init.Period = 65535;
  htim12.Init.ClockDivision = TIM_CLOCKDIVISION_DIV1;
  htim12.Init.AutoReloadPreload = TIM_AUTORELOAD_PRELOAD_DISABLE;
  if (HAL_TIM_Base_Init(&htim12) != HAL_OK)
  {
    Error_Handler();
  }
  sClockSourceConfig.ClockSource = TIM_CLOCKSOURCE_INTERNAL;
  if (HAL_TIM_ConfigClockSource(&htim12, &sClockSourceConfig) != HAL_OK)
  {
    Error_Handler();
  }

}

static void MX_UART4_Init(void)
{

  huart4.Instance = UART4;
  huart4.Init.BaudRate = 500000;
  huart4.Init.WordLength = UART_WORDLENGTH_8B;
  huart4.Init.StopBits = UART_STOPBITS_1;
  huart4.Init.Parity = UART_PARITY_NONE;
  huart4.Init.Mode = UART_MODE_TX_RX;
  huart4.Init.HwFlowCtl = UART_HWCONTROL_NONE;
  huart4.Init.OverSampling = UART_OVERSAMPLING_16;
  if (HAL_UART_Init(&huart4) != HAL_OK)
  {
    Error_Handler();
  }

}

static void MX_UART5_Init(void)
{

  huart5.Instance = UART5;
  huart5.Init.BaudRate = 230400;
  huart5.Init.WordLength = UART_WORDLENGTH_8B;
  huart5.Init.StopBits = UART_STOPBITS_1;
  huart5.Init.Parity = UART_PARITY_NONE;
  huart5.Init.Mode = UART_MODE_TX_RX;
  huart5.Init.HwFlowCtl = UART_HWCONTROL_NONE;
  huart5.Init.OverSampling = UART_OVERSAMPLING_16;
  if (HAL_UART_Init(&huart5) != HAL_OK)
  {
    Error_Handler();
  }

}

static void MX_USART2_UART_Init(void)
{

  huart2.Instance = USART2;
  huart2.Init.BaudRate = 115200;
  huart2.Init.WordLength = UART_WORDLENGTH_8B;
  huart2.Init.StopBits = UART_STOPBITS_1;
  huart2.Init.Parity = UART_PARITY_NONE;
  huart2.Init.Mode = UART_MODE_TX_RX;
  huart2.Init.HwFlowCtl = UART_HWCONTROL_NONE;
  huart2.Init.OverSampling = UART_OVERSAMPLING_16;
  if (HAL_UART_Init(&huart2) != HAL_OK)
  {
    Error_Handler();
  }

}

static void MX_DMA_Init(void)
{

  /* DMA controller clock enable */
  __HAL_RCC_DMA1_CLK_ENABLE();

  /* DMA interrupt init */
  /* DMA1_Stream0_IRQn interrupt configuration */
  HAL_NVIC_SetPriority(DMA1_Stream0_IRQn, 5, 0);
  HAL_NVIC_EnableIRQ(DMA1_Stream0_IRQn);
  /* DMA1_Stream2_IRQn interrupt configuration */
  HAL_NVIC_SetPriority(DMA1_Stream2_IRQn, 5, 0);
  HAL_NVIC_EnableIRQ(DMA1_Stream2_IRQn);
  /* DMA1_Stream4_IRQn interrupt configuration */
  HAL_NVIC_SetPriority(DMA1_Stream4_IRQn, 5, 0);
  HAL_NVIC_EnableIRQ(DMA1_Stream4_IRQn);
  /* DMA1_Stream5_IRQn interrupt configuration */
  HAL_NVIC_SetPriority(DMA1_Stream5_IRQn, 5, 0);
  HAL_NVIC_EnableIRQ(DMA1_Stream5_IRQn);
  /* DMA1_Stream6_IRQn interrupt configuration */
  HAL_NVIC_SetPriority(DMA1_Stream6_IRQn, 5, 0);
  HAL_NVIC_EnableIRQ(DMA1_Stream6_IRQn);
  /* DMA1_Stream7_IRQn interrupt configuration */
  HAL_NVIC_SetPriority(DMA1_Stream7_IRQn, 5, 0);
  HAL_NVIC_EnableIRQ(DMA1_Stream7_IRQn);

}

static void MX_GPIO_Init(void)
{
  GPIO_InitTypeDef GPIO_InitStruct = {0};

  /* GPIO Ports Clock Enable */
  __HAL_RCC_GPIOE_CLK_ENABLE();
  __HAL_RCC_GPIOF_CLK_ENABLE();
  __HAL_RCC_GPIOC_CLK_ENABLE();
  __HAL_RCC_GPIOA_CLK_ENABLE();
  __HAL_RCC_GPIOB_CLK_ENABLE();
  __HAL_RCC_GPIOG_CLK_ENABLE();
  __HAL_RCC_GPIOD_CLK_ENABLE();

  /*Configure GPIO pin Output Level */
  HAL_GPIO_WritePin(GPIOE, MotorMT0_Pin|LED2_Pin|LED0_Pin, GPIO_PIN_RESET);

  /*Configure GPIO pin Output Level */
  HAL_GPIO_WritePin(GPIOF, MotorMT1_Pin|MotorMT2_Pin|MotorMT3_Pin, GPIO_PIN_RESET);

  /*Configure GPIO pin Output Level */
  HAL_GPIO_WritePin(GPIOB, LED1_Pin|PSM_CS_0_Pin, GPIO_PIN_RESET);

  /*Configure GPIO pin Output Level */
  HAL_GPIO_WritePin(GPIOD, MotorVfmReset_Pin|MotorVfmDown_Pin|MotorVfmUp_Pin|MotorEco_Pin
                          |PSM_LVDS_EN_Pin|PSM_CS_1_Pin|PSM_CS_2_Pin, GPIO_PIN_RESET);

  /*Configure GPIO pin Output Level */
  HAL_GPIO_WritePin(GPIOG, MotorFwdRev_Pin|MotorMain_Pin|PSM_CS_3_Pin|PSM_DReady_Pin, GPIO_PIN_RESET);

  /*Configure GPIO pin Output Level */
  HAL_GPIO_WritePin(GPIOC, BBMB_PSM_CS_0_Pin|MotorCSAccel_Pin|MotorCSRegen_Pin, GPIO_PIN_RESET);

  /*Configure GPIO pins : MotorMT0_Pin LED2_Pin LED0_Pin */
  GPIO_InitStruct.Pin = MotorMT0_Pin|LED2_Pin|LED0_Pin;
  GPIO_InitStruct.Mode = GPIO_MODE_OUTPUT_PP;
  GPIO_InitStruct.Pull = GPIO_NOPULL;
  GPIO_InitStruct.Speed = GPIO_SPEED_FREQ_LOW;
  HAL_GPIO_Init(GPIOE, &GPIO_InitStruct);

  /*Configure GPIO pins : MotorMT1_Pin MotorMT2_Pin MotorMT3_Pin */
  GPIO_InitStruct.Pin = MotorMT1_Pin|MotorMT2_Pin|MotorMT3_Pin;
  GPIO_InitStruct.Mode = GPIO_MODE_OUTPUT_PP;
  GPIO_InitStruct.Pull = GPIO_NOPULL;
  GPIO_InitStruct.Speed = GPIO_SPEED_FREQ_LOW;
  HAL_GPIO_Init(GPIOF, &GPIO_InitStruct);

  /*Configure GPIO pin : GPIO_IN0_Pin */
  GPIO_InitStruct.Pin = GPIO_IN0_Pin;
  GPIO_InitStruct.Mode = GPIO_MODE_IT_RISING;
  GPIO_InitStruct.Pull = GPIO_NOPULL;
  HAL_GPIO_Init(GPIO_IN0_GPIO_Port, &GPIO_InitStruct);

  /*Configure GPIO pin : GPIO_IN10_Pin */
  GPIO_InitStruct.Pin = GPIO_IN10_Pin;
  GPIO_InitStruct.Mode = GPIO_MODE_IT_RISING;
  GPIO_InitStruct.Pull = GPIO_NOPULL;
  HAL_GPIO_Init(GPIO_IN10_GPIO_Port, &GPIO_InitStruct);

  /*Configure GPIO pins : LED1_Pin PSM_CS_0_Pin */
  GPIO_InitStruct.Pin = LED1_Pin|PSM_CS_0_Pin;
  GPIO_InitStruct.Mode = GPIO_MODE_OUTPUT_PP;
  GPIO_InitStruct.Pull = GPIO_NOPULL;
  GPIO_InitStruct.Speed = GPIO_SPEED_FREQ_LOW;
  HAL_GPIO_Init(GPIOB, &GPIO_InitStruct);

  /*Configure GPIO pins : MotorVfmReset_Pin MotorVfmDown_Pin MotorVfmUp_Pin MotorEco_Pin
                           PSM_LVDS_EN_Pin PSM_CS_1_Pin PSM_CS_2_Pin */
  GPIO_InitStruct.Pin = MotorVfmReset_Pin|MotorVfmDown_Pin|MotorVfmUp_Pin|MotorEco_Pin
                          |PSM_LVDS_EN_Pin|PSM_CS_1_Pin|PSM_CS_2_Pin;
  GPIO_InitStruct.Mode = GPIO_MODE_OUTPUT_PP;
  GPIO_InitStruct.Pull = GPIO_NOPULL;
  GPIO_InitStruct.Speed = GPIO_SPEED_FREQ_LOW;
  HAL_GPIO_Init(GPIOD, &GPIO_InitStruct);

  /*Configure GPIO pins : MotorFwdRev_Pin MotorMain_Pin PSM_CS_3_Pin PSM_DReady_Pin */
  GPIO_InitStruct.Pin = MotorFwdRev_Pin|MotorMain_Pin|PSM_CS_3_Pin|PSM_DReady_Pin;
  GPIO_InitStruct.Mode = GPIO_MODE_OUTPUT_PP;
  GPIO_InitStruct.Pull = GPIO_NOPULL;
  GPIO_InitStruct.Speed = GPIO_SPEED_FREQ_LOW;
  HAL_GPIO_Init(GPIOG, &GPIO_InitStruct);

  /*Configure GPIO pins : BBMB_PSM_CS_0_Pin MotorCSAccel_Pin MotorCSRegen_Pin */
  GPIO_InitStruct.Pin = BBMB_PSM_CS_0_Pin|MotorCSAccel_Pin|MotorCSRegen_Pin;
  GPIO_InitStruct.Mode = GPIO_MODE_OUTPUT_PP;
  GPIO_InitStruct.Pull = GPIO_NOPULL;
  GPIO_InitStruct.Speed = GPIO_SPEED_FREQ_LOW;
  HAL_GPIO_Init(GPIOC, &GPIO_InitStruct);

  /*Configure GPIO pin : PA8 */
  GPIO_InitStruct.Pin = GPIO_PIN_8;
  GPIO_InitStruct.Mode = GPIO_MODE_AF_PP;
  GPIO_InitStruct.Pull = GPIO_NOPULL;
  GPIO_InitStruct.Speed = GPIO_SPEED_FREQ_LOW;
  GPIO_InitStruct.Alternate = GPIO_AF0_MCO;
  HAL_GPIO_Init(GPIOA, &GPIO_InitStruct);

  /* EXTI interrupt init*/
  HAL_NVIC_SetPriority(EXTI0_IRQn, 5, 0);
  HAL_NVIC_EnableIRQ(EXTI0_IRQn);

  HAL_NVIC_SetPriority(EXTI15_10_IRQn, 5, 0);
  HAL_NVIC_EnableIRQ(EXTI15_10_IRQn);

}

/* USER CODE BEGIN 4 */

/*
 * Function to set the wiper position of the MCP4146 potentiometer on the MC^2.
 * Pass in a wiperValue (range from 0 - 256) to set the wiper position of the potentiometer (which ranges from 0 - 256).
 * Must also pass in the appropriate GPIO port and pins for chip select and the address of SPI handle.
 *
 * Note: In cubeMx make sure SPI CLK is below 10Mhz (SPI CLK =
 * 		And, configure SPI to send MSB first, and send 8 bits at a time
*/
void MCP4161_Pot_Write(uint16_t wiperValue, GPIO_TypeDef *CSPort, uint16_t CSPin, SPI_HandleTypeDef *hspiPtr) {
	if (wiperValue > 256) {
		wiperValue = 256; // Since the highest wiperValue is 256
	}
	uint8_t ninethDataBit = (wiperValue >> 8) & 0b1;
	uint8_t potAddress = 0b0000;
	uint8_t writeCommand = 0b00;

	uint8_t commandByte  = (potAddress << 4) | (writeCommand << 2) | ninethDataBit;
	uint8_t dataByte = wiperValue & 0xFF;

	uint8_t fullCommand[2] = {commandByte, dataByte};

	// Transmit using SPI
	HAL_GPIO_WritePin(CSPort, CSPin, GPIO_PIN_RESET);
	HAL_SPI_Transmit(hspiPtr, fullCommand, sizeof(fullCommand), 100);
	HAL_GPIO_WritePin(CSPort, CSPin, GPIO_PIN_SET);
}

// Get ADC value by polling
uint16_t ADC_poll_read(ADC_HandleTypeDef *hadcPtr) {

	// enable ADC on appropriate channel
	HAL_ADC_Start(hadcPtr);
	// Poll ADC  & TimeOut = 1mSec
	HAL_ADC_PollForConversion(hadcPtr, 1);
	// Get ADC value
	uint16_t adcVal = HAL_ADC_GetValue(hadcPtr);

	// turn off ADC
	HAL_ADC_Stop(hadcPtr);

	return adcVal;
}

// This function maps the ADC value to the actual ADC input voltage
float ADCMapToVolt(float ADCValue) {
	float ADCResolution = 4096.0; //ADC resolution should be 2^12 = 4096
	float ADCRefVoltage = 3.3;
	return ADCValue / ADCResolution * ADCRefVoltage;
}

//Function to call to get the temperature measured by the tempSensor
float getTemperature(ADC_HandleTypeDef *hadcPtr) {

	float adc_voltage = ADCMapToVolt(ADC_poll_read(hadcPtr));
	float resistance = PULL_DOWN_RESISTANCE * 3.316 / adc_voltage - PULL_DOWN_RESISTANCE;
	float temperature = (-1*COEF_A + sqrtf(COEF_A*COEF_A - 4*COEF_B*(1 - resistance/RESISTANCE_ZERO_DEG))) / (2*COEF_B);

	return temperature;
}

// Function to implement PI controller for cruise control
float PIControllerUpdate(float setpoint, float measured){
  //Returns a float between -255 (full regen) and 255 (full accel) to modulate motor power to maintain zero error (desired speed)

	float error = setpoint - measured;
	// Proportional term
	float proportionalError = cruise_control_pi.k_p * error;

  // Integral term
  cruise_control_pi.integrator = cruise_control_pi.integrator + cruise_control_pi.k_i * cruise_control_pi.timeStep_ms * (error + cruise_control_pi.prevError)/2.0;
  if (cruise_control_pi.integrator > cruise_control_pi.integralMax){
    cruise_control_pi.integrator = cruise_control_pi.integralMax;
  } else if (cruise_control_pi.integrator < cruise_control_pi.integralMin){
    cruise_control_pi.integrator = cruise_control_pi.integralMin;
  }

  //Derivative term
  float derivative = 0.0;
  if (cruise_control_pi.timeStep_ms > 0.0){ //Prevent MCU from crashing
    derivative = cruise_control_pi.k_d * (error - cruise_control_pi.prevError) / cruise_control_pi.timeStep_ms;
    if (derivative < cruise_control_pi.derivativeMin){
      derivative = cruise_control_pi.derivativeMin;
    } else if (derivative > cruise_control_pi.derivativeMax){
      derivative = cruise_control_pi.derivativeMax;
    }
  }

	// Output
	cruise_control_pi.output = proportionalError + cruise_control_pi.integrator + derivative;

	if(cruise_control_pi.output > cruise_control_pi.outMax){
		cruise_control_pi.output = cruise_control_pi.outMax;
	} else if (cruise_control_pi.output < cruise_control_pi.outMin){
		cruise_control_pi.output = cruise_control_pi.outMin;
	}

	cruise_control_pi.prevError = error;
	cruise_control_pi.prevMeasurement = measured;

	return cruise_control_pi.output;
}

static void motorTmr(TimerHandle_t xTimer){
	int res = -1; //res will be used for debugging

	//TODO: use software timer to handle tickcount overflow
	if(xTaskGetTickCount() >= (lastDcmbPacket + 4000)){  //if serialParse stops being called (this means uart connection is lost)

		motor->turnOff(motor);
		gearUp = 0;
		gearDown = 0;
		if (motor->isAccel(motor)) {
			res = motor->setAccel(motor, 0); // turns off accel
		}
		if (motor->isRegen(motor)) {
			res = motor->setRegen(motor, 0); // turns off regen
		}
		return;
	}

	switch (motorState) {
		case OFF:
			motor->turnOff(motor);
			if (motor->isAccel(motor)) {
				res = motor->setAccel(motor, 0); // turns off accel
			}
			if (motor->isRegen(motor)) {
				res = motor->setRegen(motor, 0); // turns off regen
			}
			return; //return instead of break here, since no need for VFM gear change
		case STANDBY:
			if (!motor->isOn(motor)) {
				res = motor->turnOn(motor);
			}
			if (motor->isOn(motor)) {
				if (fwdRevState) {
					res = motor->setReverse(motor);
				} else {
					res = motor->setForward(motor);
				}

				if (motor->isAccel(motor)) {
					res = motor->setAccel(motor, 0); // turns off accel
				}
				if (motor->isRegen(motor)) {
					res = motor->setRegen(motor, 0); // turns off regen
				}
			}
			break;

		case PEDAL:
			if (!motor->isOn(motor)) {
				motor->turnOn(motor);
			}
			if (motor->isOn(motor)) {
				if (fwdRevState) {
					res = motor->setReverse(motor);
				} else {
					res = motor->setForward(motor);
				}
				if (motor->isRegen(motor)) {
					res = motor->setRegen(motor, 0);
				}
				res = motor->setAccel(motor, targetPower);
			}
			break;

		case CRUISE:
			if (!motor->isOn(motor)) {
				res = motor->turnOn(motor);
			}
			if (motor->isOn(motor)) {
				if (fwdRevState) {
					res = motor->setReverse(motor);
				} else {
					res = motor->setForward(motor);
				}

				//Update motor power
				if (CRUISE_MODE == CONSTANT_POWER){
					res = motor->setAccel(motor, targetPower);

				} else if (CRUISE_MODE == CONSTANT_SPEED){
				  //TODO: Might need to add hysteresis to PI is it switches between regen and accel too quickly
				  float cruise_control_PI_output = PIControllerUpdate(targetSpeed, prevKmPerHour);
				  if (cruise_control_PI_output < 0.0){
					res = motor->setAccel(motor, (uint8_t)0);
//					res = motor->setRegen(motor, (uint8_t)(-1.0*cruise_control_PI_output)); //Regen outout from PI is negative, so need to flip back
				  }else if (cruise_control_PI_output > 0.0){
					res = motor->setRegen(motor, (uint8_t)0);
					res = motor->setAccel(motor, (uint8_t)cruise_control_PI_output);
				  }else{
					res = motor->setAccel(motor, (uint8_t)0);
					res = motor->setRegen(motor, (uint8_t)0);
				  }
				}
			}
			break;

		case REGEN:
			if (!motor->isOn(motor)) {
				res = motor->turnOn(motor);
			}
			if (motor->isOn(motor)) {
				if (fwdRevState) {
					res = motor->setReverse(motor);
				} else {
					res = motor->setForward(motor);
				}
				if (motor->isAccel(motor)) {
					res = motor->setAccel(motor, 0);
				}
				res = motor->setRegen(motor, targetPower);
			}
			break;
	}
	//Set ECO/PWR mode and change gears
	if (motor->isOn(motor)) {
		if (ecoPwrState == ECO){
			res = motor->setEco(motor);
		} else if (ecoPwrState == POWER){
			res = motor->setPwr(motor);
		}
		uint8_t current_vfm_pos = vfm_pos;
		if (current_vfm_pos > past_vfm_pos) {
			for (int i = 0; i < current_vfm_pos - past_vfm_pos; i++) {
				res = motor->gearUp(motor);
			}
		}
		if (current_vfm_pos < past_vfm_pos) {
			for (int i = 0; i < past_vfm_pos - current_vfm_pos; i++) {
				res = motor->gearDown(motor);
			}
		}
		past_vfm_pos = current_vfm_pos;
	}
}

// New implementation GEN11
static void spdTmr(TimerHandle_t xTimer){
	/* Frequency computation */
	/* TIM5CLK = 1 MHz after prescalar is set to 75-1*/
	//Note 16 pulse (16 PWM periods) per wheel rotation

	if (xTaskGetTickCount() >= (pwm_in.lastInterrupt + pdMS_TO_TICKS(1000))){
		//Note: if 1 second passed and still no pwm interrupt, the car's wheel is turning once every 16 seconds or more
		//This is very slow and we will simply set frequency to zero to avoid diffCapture growing too large or even becoming infinite
		pwm_in.frequency = 0.0;
	}
	else {
		//pwm_in.frequency = 1000000.0 / pwm_in.diffCapture;
		pwm_in.frequency = 75000000.0 / pwm_in.diffCapture;
	}
	//Note 16 pulse per rotation
	static uint8_t buf[4] = {MCMB_CAR_SPEED_ID, 0x00, 0x00, 0x00};

	// Can divide by 16 and multiply by 60 for Rotation per min

	// Get KM per Hour
	float meterPerSecond = pwm_in.frequency / 16.0 * WHEEL_DIA * 3.14159;
	float kmPerHour = meterPerSecond / 1000.0 * 3600.0;

	// Check if change is too great (most likely due to noise)
	// If so, use the previous value
	if (fabs(kmPerHour - prevKmPerHour) > 25.0) {
		kmPerHour = prevKmPerHour;
	}

	// Send frequency to DCMB (for now)
	buf[1] = (uint8_t) round(kmPerHour);

	prevKmPerHour = kmPerHour;

	B_tcpSend(btcp, buf, 4);
}

void tempSenseTaskHandler(void* parameters) {
	uint8_t buf[8] = {0};
	while(1) {
		temperature = 0;
		for(int i = 0; i < TEMP_AVG_SIZE; i++){
			temperature += getTemperature(&hadc1);
		}
		temperature = temperature / TEMP_AVG_SIZE;

		vTaskDelay(pdMS_TO_TICKS(1000));
		buf[0] = MCMB_MOTOR_TEMPERATURE_ID;
		floatToArray(temperature, buf + 4);

		B_tcpSend(btcp, buf, sizeof(buf));
	}
}

void serialParse(B_tcpPacket_t *pkt){
  vTaskSuspendAll();
	switch(pkt->senderID){
	  case DCMB_ID:
		lastDcmbPacket = xTaskGetTickCount();
		if(pkt->data[0] == DCMB_MOTOR_CONTROL_STATE_ID){
			motorState = pkt->data[1];
			targetPower = unpacku16(&pkt->data[4]);
			targetSpeed = pkt->data[8];
			vfm_pos = pkt->data[3];

			//for 5 digital buttons (4 now):
			// Deprecated: motorOnOff = pkt->data[10] & MOTOR; //Note MOTOR = 0b10000
			fwdRevState = pkt->data[2] & FWD_REV; //FWD_REV = 0b1000
			ecoPwrState = pkt->data[2] & ECO_PWR; //ECO_PWR = 0b0001
//			gearUp = ((pkt->data[2] & VFM_UP) != 0) ? 1 : 0; //VFM_UP = 0b100
//			gearDown = ((pkt->data[2] & VFM_DOWN) != 0) ? 1 : 0; //VFM_DOWN = 0b10

		}
		break;

    case CHASE_ID:
      if (pkt->data[0] == CHASE_CRUISE_PI_GAIN_ID){
        /*Data format:
        * [ID, password[1], password[0], UNUSED,
           k_p[3], k_p[2], k_p[1], k_p[0],
           k_i[3], k_i[2], k_i[1], k_i[0],
           k_d[3], k_d[2], k_d[1], k_d[0]]
        *
        * NOTE: k_p, k_i and k_d must be multiplied by 100000 before transmission
        */
        if (unpacku16(&pkt->data[1]) == CRUISE_PI_CHASE_CMD_PASSWORD){
          cruise_control_pi.k_p = (float) unpacku32(&pkt->data[4]) / 100000.0;
          cruise_control_pi.k_i = (float) unpacku32(&pkt->data[8]) / 100000.0;
          cruise_control_pi.k_d = (float) unpacku32(&pkt->data[12]) / 100000.0;
        }
      }
	}
  xTaskResumeAll();
}

/** To read PWM diff capture from motor
  * @brief  Input capture callback in non blocking mode.
  * @param  htim : TIM handle
  * @retval None
  */
void HAL_TIM_IC_CaptureCallback(TIM_HandleTypeDef *htim)
{
	// the following will run if the handle is Timer 1 and channel 1 (the pwm input)
	if (htim->Instance == TIM2 && htim->Channel == HAL_TIM_ACTIVE_CHANNEL_1)
	{
		if (pwm_in.captureIndex == 0)
		{
			/* Get the 1st input capture value */
			pwm_in.icValue1 = HAL_TIM_ReadCapturedValue(htim, TIM_CHANNEL_1);

			pwm_in.captureIndex = 1;
		}
		else if (pwm_in.captureIndex == 1)
		{
			/* Get the 2nd input capture value */
			pwm_in.icValue2 = HAL_TIM_ReadCapturedValue(htim, TIM_CHANNEL_1);

			/* Capture computation */
			if (pwm_in.icValue2 > pwm_in.icValue1)
			{
				pwm_in.diffCapture = pwm_in.icValue2 - pwm_in.icValue1;
			}
			else if (pwm_in.icValue2 < pwm_in.icValue1)
			{
				/* 0xFFFFFFFF is max TIM5 CCRx register value */
				// Note TIM5 has counter period of 0xFFFFFFFF
				pwm_in.diffCapture = ((0xFFFFFFFF-pwm_in.icValue1) + pwm_in.icValue2) + 1;
				//Note the +1 is needed to include zero
			}
			else
			{
				/* If capture values are equal, we have reached the limit of
				 * frequency measures */
				//Error_Handler();
				pwm_in.diffCapture = 1; // Needed to avoid undefined behavior in frequency computation below
			}

			/* Frequency computation */
			//TIM2CLK is driven by APB1 which is 75MHz
			/* After prescalar of 75-1, TIM2CLK = 1 MHz */
			//pwm_in.frequency = 1000000.0 / pwm_in.diffCapture; // will compute this elsewhere

			pwm_in.captureIndex = 0;
		}
		pwm_in.lastInterrupt = xTaskGetTickCount();
	}
}

void PSMTaskHandler(void * parameters){
	// we want to read voltage at half the frequency of current to avoid cpu overload
	int read_volt_counter_default_val = 1;
	int read_volt_counter = read_volt_counter_default_val;

	float current;
	float voltage;

	int delay = pdMS_TO_TICKS(round(1000 / PSM_FIR_FILTER_SAMPLING_FREQ_MCMB_CURRENT));

	while (1){

		current = readPSM(&psmPeriph, CURRENT, 3);

		if (read_volt_counter == 0){
			voltage = readPSM(&psmPeriph, VBUS, 3);
			vTaskSuspendAll();
			psmFilter.push(&psmFilter, (float) voltage, VOLTAGE_MEASUREMENT);
			xTaskResumeAll();
			read_volt_counter = read_volt_counter_default_val;
		} else{
			read_volt_counter--;
		}

		vTaskSuspendAll();
		sfq_push(&current_queue, current);
		xTaskResumeAll();

		vTaskDelay(delay);
	}
}

void measurementSender(TimerHandle_t xTimer){
//Battery
	uint8_t busMetrics_HV[3 * 4] = {0};
	busMetrics_HV[0] = MCMB_BUS_METRICS_ID;

	//Get HV average
	vTaskSuspendAll();
	float HV_voltage = psmFilter.get_average(&psmFilter, VOLTAGE_MEASUREMENT);
	float HV_current = sfq_get_avg(&current_queue);
	xTaskResumeAll();

	floatToArray(HV_voltage, busMetrics_HV + 4); // fills 4 - 7 of busMetrics
	floatToArray(HV_current, busMetrics_HV + 8); // fills 8 - 11 of busMetrics

	B_tcpSend(btcp, busMetrics_HV, sizeof(busMetrics_HV));

//Supp
//	double supp_data[2];
//	uint8_t busMetrics_LV[3 * 4] = {0};
//	busMetrics_LV[0] = MCMB_LP_BUS_METRICS_ID;
//
//	vTaskSuspendAll();
//	PSMRead(&psmPeriph, &hspi2, &huart2, 1, 2, 2, supp_data, 2);
//	xTaskResumeAll();
//
//	floatToArray((float) supp_data[0], busMetrics_LV + 4); // fills 4 - 7 of busMetrics
//	floatToArray((float) supp_data[1], busMetrics_LV + 8); // fills 16 - 19 of busMetrics
//
//	B_tcpSend(btcp, busMetrics_LV, sizeof(busMetrics_LV));
}

void HeartbeatHandler(TimerHandle_t xTimer){
	//Send periodic heartbeat so we know the board is still running
	B_tcpSend(btcp, heartbeat, sizeof(heartbeat));
	heartbeat[1] = ~heartbeat[1]; //Toggle for next time
}
/* USER CODE END 4 */

void StartDefaultTask(void const * argument)
{
  /* USER CODE BEGIN 5 */
  /* Infinite loop */
	osThreadTerminate(defaultTaskHandle);
  /* USER CODE END 5 */
}

void HAL_TIM_PeriodElapsedCallback(TIM_HandleTypeDef *htim)
{
  if (htim->Instance == TIM6) {
    HAL_IncTick();
  }
  /* USER CODE BEGIN Callback 1 */
  else if (htim == &htim7){
    HAL_GPIO_TogglePin(LED1_GPIO_Port, LED1_Pin);
  }
  /* USER CODE END Callback 1 */
}

void Error_Handler(void)
{
}
